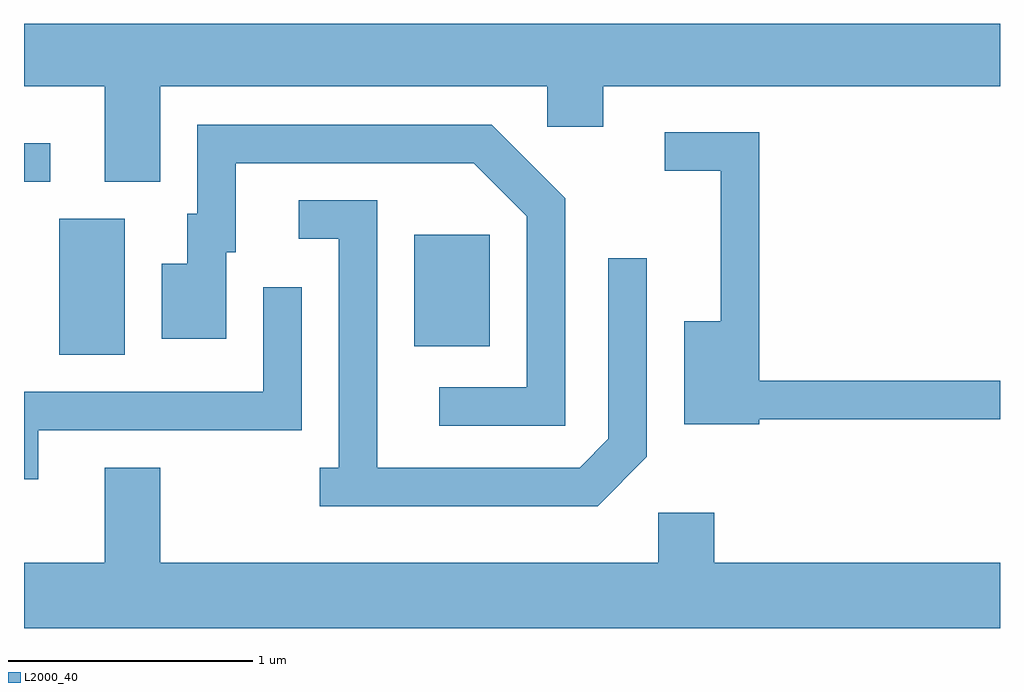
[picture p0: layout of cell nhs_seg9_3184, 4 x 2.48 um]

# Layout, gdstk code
import gdstk
lib = gdstk.Library(unit=1e-6, precision=1e-09)
def R(c, l, rs):  # rectangles x0, y0, x1, y1
    for r in rs: c.add(gdstk.rectangle(r[:2], r[2:], *l))
def P(c, l, *ps):  # polygons
    for p in ps: c.add(gdstk.Polygon(p, *l))
L2000_40 = (2000, 40)

nhs_seg9_3184 = lib.new_cell('nhs_seg9_3184')
R(nhs_seg9_3184, L2000_40, [(277.756,2075.076,278.024,2075.634), (279.211,2075.111,279.519,2075.569), (277.611,2075.786,277.718,2075.944)])
P(nhs_seg9_3184, L2000_40, [(278.169,2076.176),(279.756,2076.176),(279.756,2076.011),(279.984,2076.011),(279.984,2076.176),(281.611,2076.176),(281.611,2076.432),(277.611,2076.432),(277.611,2076.176),(277.941,2076.176),(277.941,2075.786),(278.169,2075.786)],
  [(279.829,2075.717),(279.527,2076.019),(278.321,2076.019),(278.321,2075.654),(278.281,2075.654),(278.281,2075.449),(278.176,2075.449),(278.176,2075.141),(278.439,2075.141),(278.439,2075.496),(278.479,2075.496),(278.479,2075.861),(279.454,2075.861),(279.671,2075.644),(279.671,2074.944),(279.313,2074.944),(279.313,2074.786),(279.829,2074.786)],
  [(280.624,2074.811),(281.611,2074.811),(281.611,2074.969),(280.624,2074.969),(280.624,2075.989),(280.238,2075.989),(280.238,2075.831),(280.466,2075.831),(280.466,2075.214),(280.316,2075.214),(280.316,2074.791),(280.624,2074.791)],
  [(280.164,2074.659),(280.164,2075.472),(280.006,2075.472),(280.006,2074.731),(279.889,2074.614),(279.059,2074.614),(279.059,2075.709),(278.738,2075.709),(278.738,2075.551),(278.901,2075.551),(278.901,2074.614),(278.823,2074.614),(278.823,2074.456),(279.962,2074.456)],
  [(277.669,2074.766),(278.749,2074.766),(278.749,2075.353),(278.591,2075.353),(278.591,2074.924),(277.611,2074.924),(277.611,2074.566),(277.669,2074.566)],
  [(281.611,2074.224),(280.439,2074.224),(280.439,2074.429),(280.211,2074.429),(280.211,2074.224),(278.169,2074.224),(278.169,2074.614),(277.941,2074.614),(277.941,2074.224),(277.611,2074.224),(277.611,2073.956),(281.611,2073.956)])

lib.write_gds('nhs_seg9_3184.gds')
